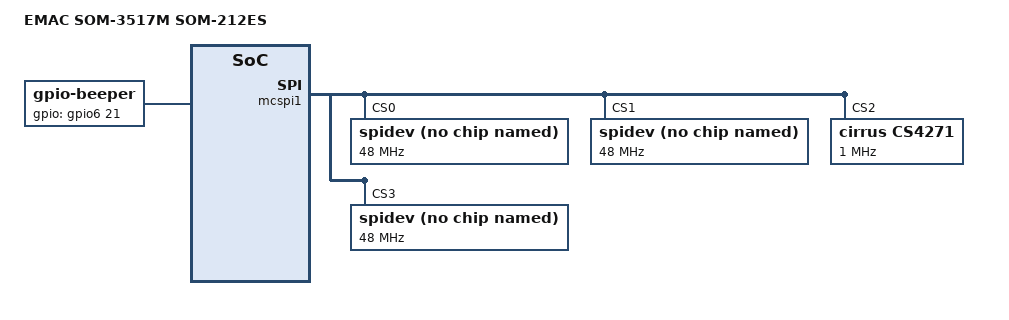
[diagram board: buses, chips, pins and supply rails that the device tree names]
/*
 * som-3517-212es.dts - Device Tree file for the SOM-3517M with SOM-212ES. 
 *
 * Copyright (C) 2017 EMAC Inc.
 *
 * This program is free software; you can redistribute it and/or modify
 * it under the terms of the GNU General Public License version 2 as
 * published by the Free Software Foundation.
 */

/dts-v1/;

#include "som-3517.dtsi"

/ {
	model = "EMAC SOM-3517M SOM-212ES";

	beeper {
		compatible = "gpio-beeper";
		gpios = <&gpio6 21 GPIO_ACTIVE_HIGH>;
		status = "okay";
	};

	sound {
		compatible = "simple-audio-card";
		simple-audio-card,name = "cs4271 @ SOM3517";
		simple-audio-card,format = "i2s";
		simple-audio-card,bitclock-master = <&codec_master>;
		simple-audio-card,frame-master = <&codec_master>;
		simple-audio-card,widgets =
			"Line", "Line In",
			"Line", "Line Out";
		simple-audio-card,routing =
			"Line In", "Capture",
			"Line Out", "Playback";

		cpu_master: simple-audio-card,cpu {
			sound-dai = <&mcbsp2>;
		};

		codec_master: simple-audio-card,codec {
			sound-dai = <&cs4271>;
			clocks = <&clock_gpio>;
		};
	};
};

&mcspi1 {
	spidev@0 {
		compatible = "emac,spidev";
		spi-max-frequency = <48000000>;
		reg = <0>;
	};

	spidev@1 {
		compatible = "emac,spidev";
		spi-max-frequency = <48000000>;
		reg = <1>;
	};

	cs4271: cs4271@2 {
		#sound-dai-cells = <0>;
		compatible = "cirrus,cs4271";
		spi-max-frequency = <1000000>;
		reg = <2>;
		status = "okay";
	};

	spidev@3 {
		compatible = "emac,spidev";
		spi-max-frequency = <48000000>;
		reg = <3>;
	};
};
